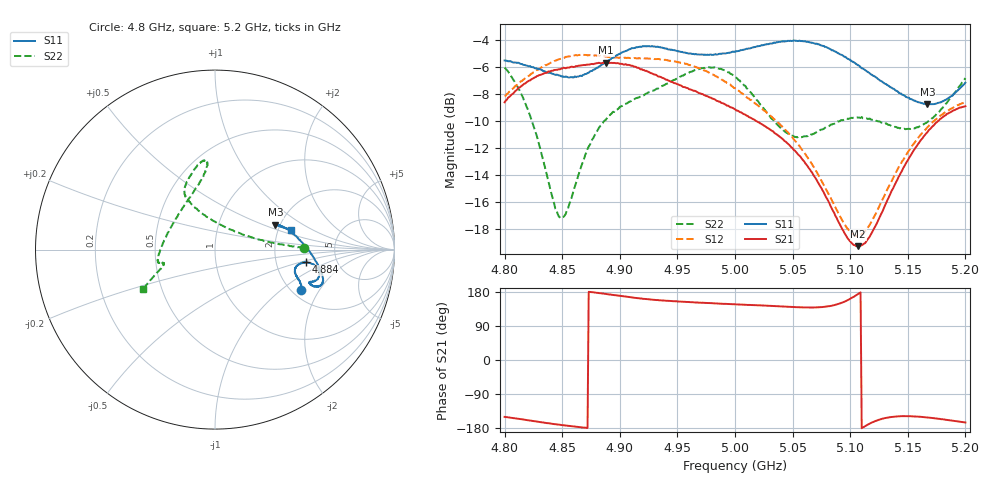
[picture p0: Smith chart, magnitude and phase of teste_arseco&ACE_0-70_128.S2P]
! Network Analyzer HP8722D
! Hewlett-Packard
! Data name: Linha & Wilkinson
! Saver's name: Rodrigo Anjos
! Comments: Teste da utilização de aquisição
! continua pelo VNA HP8722D
! Time and date: 8/5/2025 13:49
!  Frequency  S11  S21  S12  S22
# HZ  S  MA R 50
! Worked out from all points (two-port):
!   401 points, 4.8 GHz to 5.2 GHz, reference 50 ohm
!   highest |S21| = -5.67 dB at 4.888 GHz (marker M1); lowest = -19.3 dB at 5.107 GHz (marker M2)
!   |S21| within 3 dB of the highest: start of sweep to 4.988 GHz
!   lowest |S11| = -8.8 dB at 5.167 GHz (marker M3), VSWR 2.15, Z = 94.3 + j30.4 ohm
!   |S11| at or under -10 dB: nowhere
!   |S22| runs from -17.2 to -6.0 dB; largest |S21 - S12| = 1.1
!   S11 on the Smith chart (normalised r, x): 4.8 GHz: 2.23, -1.41; 4.884 GHz: 2.97, -0.57; 5.2 GHz: 2.35, +0.64
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4.8e9  0.5302 -25.4  0.3705 -150.2  0.3903 9.1  0.4986 1.0
4.821e9  0.5045 -20.5  0.4457 -159.4  0.4647 6.0  0.3399 6.0
4.842e9  0.4723 -17.4  0.4856 -168.6  0.5232 2.8  0.1617 35.6
4.848e9  0.4658 -16.2  0.4913 -170.8  0.5364 1.6  0.1386 58.5
4.854e9  0.4608 -14.8  0.4983 -173.3  0.5468 0.8  0.1469 82.2
4.867e9  0.4641 -11.1  0.5084 -177.8  0.5547 -1.2  0.2172 110.5
4.884e9  0.5108 -7.9  0.5172 175.8  0.5488 -2.4  0.3047 118.1
4.888e9  0.5247 -8.0  0.5205 174.2  0.5474 -2.3  0.3191 118.8
4.91e9  0.5875 -11.0  0.5063 165.3  0.5415 -1.8  0.3746 117.2
4.934e9  0.5942 -16.3  0.462 157.6  0.5369 -2.6  0.4189 110.5
4.975e9  0.5555 -19.3  0.3914 150.5  0.4847 -6.2  0.5002 97.7
5e9  0.5719 -20.1  0.3493 146.8  0.4181 -6.4  0.4624 95.7
5.044e9  0.6247 -18.2  0.2647 140.8  0.2916 2.0  0.2866 132.0
5.067e9  0.6167 -13.8  0.2029 138.5  0.2179 9.0  0.2816 165.2
5.095e9  0.5475 -4.2  0.1211 153.8  0.1311 34.2  0.3197 -172.4
5.107e9  0.5082 1.7  0.1083 174.6  0.1186 57.0  0.3252 -168.1
5.117e9  0.4749 6.6  0.1176 -167.8  0.13 76.4  0.3224 -166.7
5.134e9  0.4246 15.0  0.1661 -151.1  0.1821 94.5  0.3055 -165.8
5.152e9  0.3809 20.9  0.2334 -148.4  0.2481 100.3  0.2948 -164.6
5.167e9  0.3643 22.5  0.287 -151.5  0.2996 101.1  0.3132 -161.4
5.182e9  0.3772 20.6  0.3304 -157.1  0.3392 101.2  0.3601 -157.3
5.2e9  0.4384 14.5  0.3584 -164.9  0.3717 101.5  0.4558 -151.1
